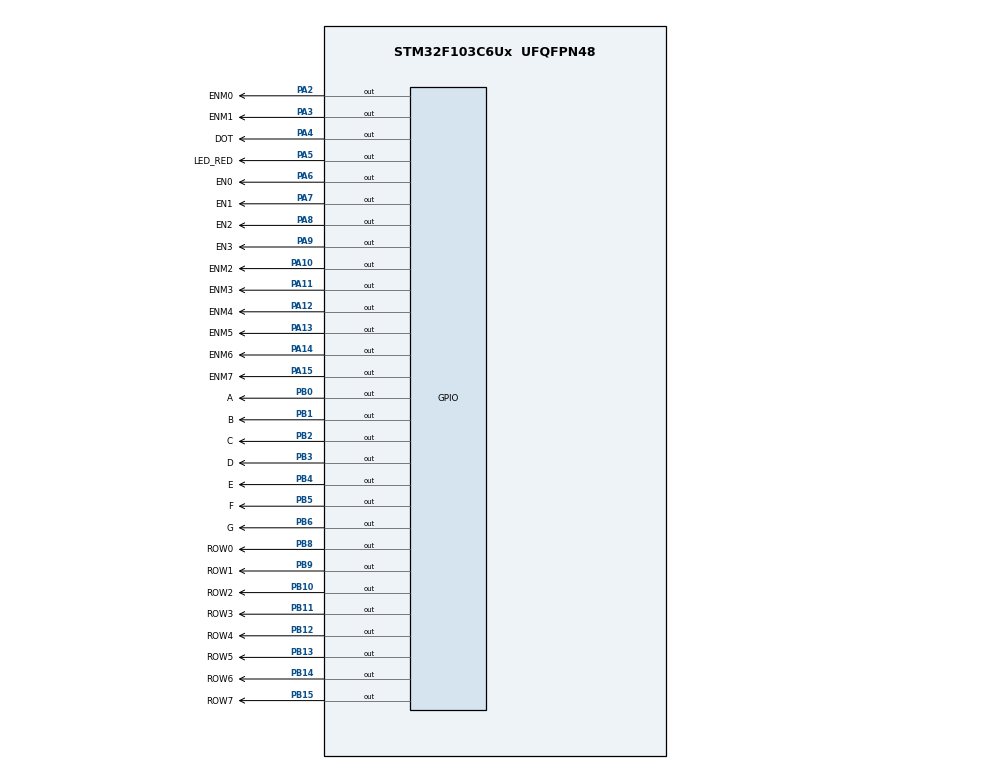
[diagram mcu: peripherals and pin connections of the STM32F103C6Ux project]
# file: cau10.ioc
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Mcu.Family=STM32F1
Mcu.Name=STM32F103C6Ux
Mcu.Package=UFQFPN48
NVIC.PriorityGroup=NVIC_PRIORITYGROUP_4
NVIC.TIM2_IRQn=true\:0\:0\:false\:false\:true\:true\:true\:true
PA10.GPIO_Label=ENM2
PA10.Signal=GPIO_Output
PA11.GPIO_Label=ENM3
PA11.Signal=GPIO_Output
PA12.GPIO_Label=ENM4
PA12.Signal=GPIO_Output
PA13.GPIO_Label=ENM5
PA13.Signal=GPIO_Output
PA14.GPIO_Label=ENM6
PA14.Signal=GPIO_Output
PA15.GPIO_Label=ENM7
PA15.Signal=GPIO_Output
PA2.GPIO_Label=ENM0
PA2.Signal=GPIO_Output
PA3.GPIO_Label=ENM1
PA3.Signal=GPIO_Output
PA4.GPIO_Label=DOT
PA4.Signal=GPIO_Output
PA5.GPIO_Label=LED_RED
PA5.Signal=GPIO_Output
PA6.GPIO_Label=EN0
PA6.Signal=GPIO_Output
PA7.GPIO_Label=EN1
PA7.Signal=GPIO_Output
PA8.GPIO_Label=EN2
PA8.Signal=GPIO_Output
PA9.GPIO_Label=EN3
PA9.Signal=GPIO_Output
PB0.GPIO_Label=A
PB0.Signal=GPIO_Output
PB1.GPIO_Label=B
PB1.Signal=GPIO_Output
PB10.GPIO_Label=ROW2
PB10.Signal=GPIO_Output
PB11.GPIO_Label=ROW3
PB11.Signal=GPIO_Output
PB12.GPIO_Label=ROW4
PB12.Signal=GPIO_Output
PB13.GPIO_Label=ROW5
PB13.Signal=GPIO_Output
PB14.GPIO_Label=ROW6
PB14.Signal=GPIO_Output
PB15.GPIO_Label=ROW7
PB15.Signal=GPIO_Output
PB2.GPIO_Label=C
PB2.Signal=GPIO_Output
PB3.GPIO_Label=D
PB3.Signal=GPIO_Output
PB4.GPIO_Label=E
PB4.Signal=GPIO_Output
PB5.GPIO_Label=F
PB5.Signal=GPIO_Output
PB6.GPIO_Label=G
PB6.Signal=GPIO_Output
PB8.GPIO_Label=ROW0
PB8.Signal=GPIO_Output
PB9.GPIO_Label=ROW1
PB9.Signal=GPIO_Output
ProjectManager.HeapSize=0x200
ProjectManager.StackSize=0x400
ProjectManager.TargetToolchain=STM32CubeIDE
RCC.APB1Freq_Value=8000000
RCC.APB2Freq_Value=8000000
TIM2.Period=10
TIM2.Prescaler=7999
VP_TIM2_VS_ClockSourceINT.Mode=Internal
board=custom

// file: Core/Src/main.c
/* USER CODE BEGIN Header */
/**
  ******************************************************************************
  * @file           : main.c
  * @brief          : Main program body
  ******************************************************************************
  * @attention
  *
  * Copyright (c) 2022 STMicroelectronics.
  * All rights reserved.
  *
  * This software is licensed under terms that can be found in the LICENSE file
  * in the root directory of this software component.
  * If no LICENSE file comes with this software, it is provided AS-IS.
  *
  ******************************************************************************
  */
/* USER CODE END Header */
#include "main.h"

/* USER CODE BEGIN Includes */

#include "cau10_header.h"

/* USER CODE END Includes */

TIM_HandleTypeDef htim2;

/* USER CODE BEGIN PV */

const int MAX_LED = 4;
int index_led = 0;
int led_buffer [4] = {1 , 2 , 3 , 4};

int hour = 15 , minute = 8 , second = 50;

// LED MATRIX

const int MAX_LED_MATRIX = 8;
int index_led_matrix = 0;
uint8_t matrix_buffer [8] = {0x01, 0x02, 0x03, 0x04, 0x05, 0x06, 0x07, 0x08};

/* Variable "updateMatrix" is used to update the position of the character A,
each time the variable value is increased, the character A will shift 1 column to the right. */
int updateMatrix = 0;

/* USER CODE END PV */

void SystemClock_Config(void);
static void MX_GPIO_Init(void);
static void MX_TIM2_Init(void);
/* USER CODE BEGIN PFP */

void display7SEG(int num)
{
	if (num == 0)
	{
		HAL_GPIO_WritePin(A_GPIO_Port,A_Pin,0);
		HAL_GPIO_WritePin(B_GPIO_Port,B_Pin,0);
		HAL_GPIO_WritePin(C_GPIO_Port,C_Pin,0);
		HAL_GPIO_WritePin(D_GPIO_Port,D_Pin,0);
		HAL_GPIO_WritePin(E_GPIO_Port,E_Pin,0);
		HAL_GPIO_WritePin(F_GPIO_Port,F_Pin,0);
		HAL_GPIO_WritePin(G_GPIO_Port,G_Pin,1);
	}
	if (num == 1)
	{
		HAL_GPIO_WritePin(A_GPIO_Port,A_Pin,1);
		HAL_GPIO_WritePin(B_GPIO_Port,B_Pin,0);
		HAL_GPIO_WritePin(C_GPIO_Port,C_Pin,0);
		HAL_GPIO_WritePin(D_GPIO_Port,D_Pin,1);
		HAL_GPIO_WritePin(E_GPIO_Port,E_Pin,1);
		HAL_GPIO_WritePin(F_GPIO_Port,F_Pin,1);
		HAL_GPIO_WritePin(G_GPIO_Port,G_Pin,1);
	}
	if (num == 2)
	{
		HAL_GPIO_WritePin(A_GPIO_Port,A_Pin,0);
		HAL_GPIO_WritePin(B_GPIO_Port,B_Pin,0);
		HAL_GPIO_WritePin(C_GPIO_Port,C_Pin,1);
		HAL_GPIO_WritePin(D_GPIO_Port,D_Pin,0);
		HAL_GPIO_WritePin(E_GPIO_Port,E_Pin,0);
		HAL_GPIO_WritePin(F_GPIO_Port,F_Pin,1);
		HAL_GPIO_WritePin(G_GPIO_Port,G_Pin,0);
	}
	if (num == 3)
	{
		HAL_GPIO_WritePin(A_GPIO_Port,A_Pin,0);
		HAL_GPIO_WritePin(B_GPIO_Port,B_Pin,0);
		HAL_GPIO_WritePin(C_GPIO_Port,C_Pin,0);
		HAL_GPIO_WritePin(D_GPIO_Port,D_Pin,0);
		HAL_GPIO_WritePin(E_GPIO_Port,E_Pin,1);
		HAL_GPIO_WritePin(F_GPIO_Port,F_Pin,1);
		HAL_GPIO_WritePin(G_GPIO_Port,G_Pin,0);
	}
	if (num == 4)
	{
		HAL_GPIO_WritePin(A_GPIO_Port,A_Pin,1);
		HAL_GPIO_WritePin(B_GPIO_Port,B_Pin,0);
		HAL_GPIO_WritePin(C_GPIO_Port,C_Pin,0);
		HAL_GPIO_WritePin(D_GPIO_Port,D_Pin,1);
		HAL_GPIO_WritePin(E_GPIO_Port,E_Pin,1);
		HAL_GPIO_WritePin(F_GPIO_Port,F_Pin,0);
		HAL_GPIO_WritePin(G_GPIO_Port,G_Pin,0);
	}
	if (num == 5)
	{
		HAL_GPIO_WritePin(A_GPIO_Port,A_Pin,0);
		HAL_GPIO_WritePin(B_GPIO_Port,B_Pin,1);
		HAL_GPIO_WritePin(C_GPIO_Port,C_Pin,0);
		HAL_GPIO_WritePin(D_GPIO_Port,D_Pin,0);
		HAL_GPIO_WritePin(E_GPIO_Port,E_Pin,1);
		HAL_GPIO_WritePin(F_GPIO_Port,F_Pin,0);
		HAL_GPIO_WritePin(G_GPIO_Port,G_Pin,0);
	}
	if (num == 6)
	{
		HAL_GPIO_WritePin(A_GPIO_Port,A_Pin,0);
		HAL_GPIO_WritePin(B_GPIO_Port,B_Pin,1);
		HAL_GPIO_WritePin(C_GPIO_Port,C_Pin,0);
		HAL_GPIO_WritePin(D_GPIO_Port,D_Pin,0);
		HAL_GPIO_WritePin(E_GPIO_Port,E_Pin,0);
		HAL_GPIO_WritePin(F_GPIO_Port,F_Pin,0);
		HAL_GPIO_WritePin(G_GPIO_Port,G_Pin,0);
	}
	if (num == 7)
	{
		HAL_GPIO_WritePin(A_GPIO_Port,A_Pin,0);
		HAL_GPIO_WritePin(B_GPIO_Port,B_Pin,0);
		HAL_GPIO_WritePin(C_GPIO_Port,C_Pin,0);
		HAL_GPIO_WritePin(D_GPIO_Port,D_Pin,1);
		HAL_GPIO_WritePin(E_GPIO_Port,E_Pin,1);
		HAL_GPIO_WritePin(F_GPIO_Port,F_Pin,1);
		HAL_GPIO_WritePin(G_GPIO_Port,G_Pin,1);
	}
	if (num == 8)
	{
		HAL_GPIO_WritePin(A_GPIO_Port,A_Pin,0);
		HAL_GPIO_WritePin(B_GPIO_Port,B_Pin,0);
		HAL_GPIO_WritePin(C_GPIO_Port,C_Pin,0);
		HAL_GPIO_WritePin(D_GPIO_Port,D_Pin,0);
		HAL_GPIO_WritePin(E_GPIO_Port,E_Pin,0);
		HAL_GPIO_WritePin(F_GPIO_Port,F_Pin,0);
		HAL_GPIO_WritePin(G_GPIO_Port,G_Pin,0);
	}
	if (num == 9)
	{
		HAL_GPIO_WritePin(A_GPIO_Port,A_Pin,0);
		HAL_GPIO_WritePin(B_GPIO_Port,B_Pin,0);
		HAL_GPIO_WritePin(C_GPIO_Port,C_Pin,0);
		HAL_GPIO_WritePin(D_GPIO_Port,D_Pin,0);
		HAL_GPIO_WritePin(E_GPIO_Port,E_Pin,1);
		HAL_GPIO_WritePin(F_GPIO_Port,F_Pin,0);
		HAL_GPIO_WritePin(G_GPIO_Port,G_Pin,0);
	}
}

void update7SEG (int index)
{
	switch(index)
	{
		case 0:		// Display the first 7 SEG with led_buffer [0]
			display7SEG(led_buffer [0]);
			HAL_GPIO_WritePin(EN0_GPIO_Port, EN0_Pin, 0);	// seg 1 on
			HAL_GPIO_WritePin(EN1_GPIO_Port, EN1_Pin, 1);	// seg 2 off
			HAL_GPIO_WritePin(EN2_GPIO_Port, EN2_Pin, 1);	// seg 3 off
			HAL_GPIO_WritePin(EN3_GPIO_Port, EN3_Pin, 1);	// seg 4 off
			break;
		case 1:		// Display the second 7 SEG with led_buffer [1]
			display7SEG(led_buffer [1]);
			HAL_GPIO_WritePin(EN0_GPIO_Port, EN0_Pin, 1);	// seg 1 off
			HAL_GPIO_WritePin(EN1_GPIO_Port, EN1_Pin, 0);	// seg 2 on
			break;
		case 2:		// Display the third 7 SEG with led_buffer [2]
			display7SEG(led_buffer [2]);
			HAL_GPIO_WritePin(EN1_GPIO_Port, EN1_Pin, 1);	// seg 2 off
			HAL_GPIO_WritePin(EN2_GPIO_Port, EN2_Pin, 0);	// seg 3 on
			break;
		default:	// Display the forth 7 SEG with led_buffer [3]
			display7SEG(led_buffer [3]);
			HAL_GPIO_WritePin(EN2_GPIO_Port, EN2_Pin, 1);	// seg 3 off
			HAL_GPIO_WritePin(EN3_GPIO_Port, EN3_Pin, 0);	// seg 4 on
		break;
	}
}

void updateClockBuffer()
{
	led_buffer [0] = hour/10;
	led_buffer [1] = hour%10;
	led_buffer [2] = minute/10;
	led_buffer [3] = minute%10;
}

void updateLEDMatrix (int index )
{
	switch (index)
	{
		case 0:
			HAL_GPIO_WritePin(ENM0_GPIO_Port, ENM0_Pin, 0);
			HAL_GPIO_WritePin(ENM1_GPIO_Port, ENM1_Pin, 1);
			HAL_GPIO_WritePin(ENM2_GPIO_Port, ENM2_Pin, 1);
			HAL_GPIO_WritePin(ENM3_GPIO_Port, ENM3_Pin, 1);
			HAL_GPIO_WritePin(ENM4_GPIO_Port, ENM4_Pin, 1);
			HAL_GPIO_WritePin(ENM5_GPIO_Port, ENM5_Pin, 1);
			HAL_GPIO_WritePin(ENM6_GPIO_Port, ENM6_Pin, 1);
			HAL_GPIO_WritePin(ENM7_GPIO_Port, ENM7_Pin, 1);

			HAL_GPIO_WritePin(ROW0_GPIO_Port, ROW0_Pin, ((matrix_buffer[0] >> 0)&1));
			HAL_GPIO_WritePin(ROW1_GPIO_Port, ROW1_Pin, ((matrix_buffer[0] >> 1)&1));
			HAL_GPIO_WritePin(ROW2_GPIO_Port, ROW2_Pin, ((matrix_buffer[0] >> 2)&1));
			HAL_GPIO_WritePin(ROW3_GPIO_Port, ROW3_Pin, ((matrix_buffer[0] >> 3)&1));
			HAL_GPIO_WritePin(ROW4_GPIO_Port, ROW4_Pin, ((matrix_buffer[0] >> 4)&1));
			HAL_GPIO_WritePin(ROW5_GPIO_Port, ROW5_Pin, ((matrix_buffer[0] >> 5)&1));
			HAL_GPIO_WritePin(ROW6_GPIO_Port, ROW6_Pin, ((matrix_buffer[0] >> 6)&1));
			HAL_GPIO_WritePin(ROW7_GPIO_Port, ROW7_Pin, ((matrix_buffer[0] >> 7)&1));
			break;
		case 1:
			HAL_GPIO_WritePin(ENM0_GPIO_Port, ENM0_Pin, 1);
			HAL_GPIO_WritePin(ENM1_GPIO_Port, ENM1_Pin, 0);
			HAL_GPIO_WritePin(ENM2_GPIO_Port, ENM2_Pin, 1);
			HAL_GPIO_WritePin(ENM3_GPIO_Port, ENM3_Pin, 1);
			HAL_GPIO_WritePin(ENM4_GPIO_Port, ENM4_Pin, 1);
			HAL_GPIO_WritePin(ENM5_GPIO_Port, ENM5_Pin, 1);
			HAL_GPIO_WritePin(ENM6_GPIO_Port, ENM6_Pin, 1);
			HAL_GPIO_WritePin(ENM7_GPIO_Port, ENM7_Pin, 1);

			HAL_GPIO_WritePin(ROW0_GPIO_Port, ROW0_Pin, ((matrix_buffer[1] >> 0)&1));
			HAL_GPIO_WritePin(ROW1_GPIO_Port, ROW1_Pin, ((matrix_buffer[1] >> 1)&1));
			HAL_GPIO_WritePin(ROW2_GPIO_Port, ROW2_Pin, ((matrix_buffer[1] >> 2)&1));
			HAL_GPIO_WritePin(ROW3_GPIO_Port, ROW3_Pin, ((matrix_buffer[1] >> 3)&1));
			HAL_GPIO_WritePin(ROW4_GPIO_Port, ROW4_Pin, ((matrix_buffer[1] >> 4)&1));
			HAL_GPIO_WritePin(ROW5_GPIO_Port, ROW5_Pin, ((matrix_buffer[1] >> 5)&1));
			HAL_GPIO_WritePin(ROW6_GPIO_Port, ROW6_Pin, ((matrix_buffer[1] >> 6)&1));
			HAL_GPIO_WritePin(ROW7_GPIO_Port, ROW7_Pin, ((matrix_buffer[1] >> 7)&1));
			break;
		case 2:
			HAL_GPIO_WritePin(ENM0_GPIO_Port, ENM0_Pin, 1);
			HAL_GPIO_WritePin(ENM1_GPIO_Port, ENM1_Pin, 1);
			HAL_GPIO_WritePin(ENM2_GPIO_Port, ENM2_Pin, 0);
			HAL_GPIO_WritePin(ENM3_GPIO_Port, ENM3_Pin, 1);
			HAL_GPIO_WritePin(ENM4_GPIO_Port, ENM4_Pin, 1);
			HAL_GPIO_WritePin(ENM5_GPIO_Port, ENM5_Pin, 1);
			HAL_GPIO_WritePin(ENM6_GPIO_Port, ENM6_Pin, 1);
			HAL_GPIO_WritePin(ENM7_GPIO_Port, ENM7_Pin, 1);

			HAL_GPIO_WritePin(ROW0_GPIO_Port, ROW0_Pin, ((matrix_buffer[2] >> 0)&1));
			HAL_GPIO_WritePin(ROW1_GPIO_Port, ROW1_Pin, ((matrix_buffer[2] >> 1)&1));
			HAL_GPIO_WritePin(ROW2_GPIO_Port, ROW2_Pin, ((matrix_buffer[2] >> 2)&1));
			HAL_GPIO_WritePin(ROW3_GPIO_Port, ROW3_Pin, ((matrix_buffer[2] >> 3)&1));
			HAL_GPIO_WritePin(ROW4_GPIO_Port, ROW4_Pin, ((matrix_buffer[2] >> 4)&1));
			HAL_GPIO_WritePin(ROW5_GPIO_Port, ROW5_Pin, ((matrix_buffer[2] >> 5)&1));
			HAL_GPIO_WritePin(ROW6_GPIO_Port, ROW6_Pin, ((matrix_buffer[2] >> 6)&1));
			HAL_GPIO_WritePin(ROW7_GPIO_Port, ROW7_Pin, ((matrix_buffer[2] >> 7)&1));
			break;
		case 3:
			HAL_GPIO_WritePin(ENM0_GPIO_Port, ENM0_Pin, 1);
			HAL_GPIO_WritePin(ENM1_GPIO_Port, ENM1_Pin, 1);
			HAL_GPIO_WritePin(ENM2_GPIO_Port, ENM2_Pin, 1);
			HAL_GPIO_WritePin(ENM3_GPIO_Port, ENM3_Pin, 0);
			HAL_GPIO_WritePin(ENM4_GPIO_Port, ENM4_Pin, 1);
			HAL_GPIO_WritePin(ENM5_GPIO_Port, ENM5_Pin, 1);
			HAL_GPIO_WritePin(ENM6_GPIO_Port, ENM6_Pin, 1);
			HAL_GPIO_WritePin(ENM7_GPIO_Port, ENM7_Pin, 1);

			HAL_GPIO_WritePin(ROW0_GPIO_Port, ROW0_Pin, ((matrix_buffer[3] >> 0)&1));
			HAL_GPIO_WritePin(ROW1_GPIO_Port, ROW1_Pin, ((matrix_buffer[3] >> 1)&1));
			HAL_GPIO_WritePin(ROW2_GPIO_Port, ROW2_Pin, ((matrix_buffer[3] >> 2)&1));
			HAL_GPIO_WritePin(ROW3_GPIO_Port, ROW3_Pin, ((matrix_buffer[3] >> 3)&1));
			HAL_GPIO_WritePin(ROW4_GPIO_Port, ROW4_Pin, ((matrix_buffer[3] >> 4)&1));
			HAL_GPIO_WritePin(ROW5_GPIO_Port, ROW5_Pin, ((matrix_buffer[3] >> 5)&1));
			HAL_GPIO_WritePin(ROW6_GPIO_Port, ROW6_Pin, ((matrix_buffer[3] >> 6)&1));
			HAL_GPIO_WritePin(ROW7_GPIO_Port, ROW7_Pin, ((matrix_buffer[3] >> 7)&1));
			break;
		case 4:
			HAL_GPIO_WritePin(ENM0_GPIO_Port, ENM0_Pin, 1);
			HAL_GPIO_WritePin(ENM1_GPIO_Port, ENM1_Pin, 1);
			HAL_GPIO_WritePin(ENM2_GPIO_Port, ENM2_Pin, 1);
			HAL_GPIO_WritePin(ENM3_GPIO_Port, ENM3_Pin, 1);
			HAL_GPIO_WritePin(ENM4_GPIO_Port, ENM4_Pin, 0);
			HAL_GPIO_WritePin(ENM5_GPIO_Port, ENM5_Pin, 1);
			HAL_GPIO_WritePin(ENM6_GPIO_Port, ENM6_Pin, 1);
			HAL_GPIO_WritePin(ENM7_GPIO_Port, ENM7_Pin, 1);

			HAL_GPIO_WritePin(ROW0_GPIO_Port, ROW0_Pin, ((matrix_buffer[4] >> 0)&1));
			HAL_GPIO_WritePin(ROW1_GPIO_Port, ROW1_Pin, ((matrix_buffer[4] >> 1)&1));
			HAL_GPIO_WritePin(ROW2_GPIO_Port, ROW2_Pin, ((matrix_buffer[4] >> 2)&1));
			HAL_GPIO_WritePin(ROW3_GPIO_Port, ROW3_Pin, ((matrix_buffer[4] >> 3)&1));
			HAL_GPIO_WritePin(ROW4_GPIO_Port, ROW4_Pin, ((matrix_buffer[4] >> 4)&1));
			HAL_GPIO_WritePin(ROW5_GPIO_Port, ROW5_Pin, ((matrix_buffer[4] >> 5)&1));
			HAL_GPIO_WritePin(ROW6_GPIO_Port, ROW6_Pin, ((matrix_buffer[4] >> 6)&1));
			HAL_GPIO_WritePin(ROW7_GPIO_Port, ROW7_Pin, ((matrix_buffer[4] >> 7)&1));
			break;
		case 5:
			HAL_GPIO_WritePin(ENM0_GPIO_Port, ENM0_Pin, 1);
			HAL_GPIO_WritePin(ENM1_GPIO_Port, ENM1_Pin, 1);
			HAL_GPIO_WritePin(ENM2_GPIO_Port, ENM2_Pin, 1);
			HAL_GPIO_WritePin(ENM3_GPIO_Port, ENM3_Pin, 1);
			HAL_GPIO_WritePin(ENM4_GPIO_Port, ENM4_Pin, 1);
			HAL_GPIO_WritePin(ENM5_GPIO_Port, ENM5_Pin, 0);
			HAL_GPIO_WritePin(ENM6_GPIO_Port, ENM6_Pin, 1);
			HAL_GPIO_WritePin(ENM7_GPIO_Port, ENM7_Pin, 1);

			HAL_GPIO_WritePin(ROW0_GPIO_Port, ROW0_Pin, ((matrix_buffer[5] >> 0)&1));
			HAL_GPIO_WritePin(ROW1_GPIO_Port, ROW1_Pin, ((matrix_buffer[5] >> 1)&1));
			HAL_GPIO_WritePin(ROW2_GPIO_Port, ROW2_Pin, ((matrix_buffer[5] >> 2)&1));
			HAL_GPIO_WritePin(ROW3_GPIO_Port, ROW3_Pin, ((matrix_buffer[5] >> 3)&1));
			HAL_GPIO_WritePin(ROW4_GPIO_Port, ROW4_Pin, ((matrix_buffer[5] >> 4)&1));
			HAL_GPIO_WritePin(ROW5_GPIO_Port, ROW5_Pin, ((matrix_buffer[5] >> 5)&1));
			HAL_GPIO_WritePin(ROW6_GPIO_Port, ROW6_Pin, ((matrix_buffer[5] >> 6)&1));
			HAL_GPIO_WritePin(ROW7_GPIO_Port, ROW7_Pin, ((matrix_buffer[5] >> 7)&1));
			break;
		case 6:
			HAL_GPIO_WritePin(ENM0_GPIO_Port, ENM0_Pin, 1);
			HAL_GPIO_WritePin(ENM1_GPIO_Port, ENM1_Pin, 1);
			HAL_GPIO_WritePin(ENM2_GPIO_Port, ENM2_Pin, 1);
			HAL_GPIO_WritePin(ENM3_GPIO_Port, ENM3_Pin, 1);
			HAL_GPIO_WritePin(ENM4_GPIO_Port, ENM4_Pin, 1);
			HAL_GPIO_WritePin(ENM5_GPIO_Port, ENM5_Pin, 1);
			HAL_GPIO_WritePin(ENM6_GPIO_Port, ENM6_Pin, 0);
			HAL_GPIO_WritePin(ENM7_GPIO_Port, ENM7_Pin, 1);

			HAL_GPIO_WritePin(ROW0_GPIO_Port, ROW0_Pin, ((matrix_buffer[6] >> 0)&1));
			HAL_GPIO_WritePin(ROW1_GPIO_Port, ROW1_Pin, ((matrix_buffer[6] >> 1)&1));
			HAL_GPIO_WritePin(ROW2_GPIO_Port, ROW2_Pin, ((matrix_buffer[6] >> 2)&1));
			HAL_GPIO_WritePin(ROW3_GPIO_Port, ROW3_Pin, ((matrix_buffer[6] >> 3)&1));
			HAL_GPIO_WritePin(ROW4_GPIO_Port, ROW4_Pin, ((matrix_buffer[6] >> 4)&1));
			HAL_GPIO_WritePin(ROW5_GPIO_Port, ROW5_Pin, ((matrix_buffer[6] >> 5)&1));
			HAL_GPIO_WritePin(ROW6_GPIO_Port, ROW6_Pin, ((matrix_buffer[6] >> 6)&1));
			HAL_GPIO_WritePin(ROW7_GPIO_Port, ROW7_Pin, ((matrix_buffer[6] >> 7)&1));
			break;
		case 7:
			HAL_GPIO_WritePin(ENM0_GPIO_Port, ENM0_Pin, 1);
			HAL_GPIO_WritePin(ENM1_GPIO_Port, ENM1_Pin, 1);
			HAL_GPIO_WritePin(ENM2_GPIO_Port, ENM2_Pin, 1);
			HAL_GPIO_WritePin(ENM3_GPIO_Port, ENM3_Pin, 1);
			HAL_GPIO_WritePin(ENM4_GPIO_Port, ENM4_Pin, 1);
			HAL_GPIO_WritePin(ENM5_GPIO_Port, ENM5_Pin, 1);
			HAL_GPIO_WritePin(ENM6_GPIO_Port, ENM6_Pin, 1);
			HAL_GPIO_WritePin(ENM7_GPIO_Port, ENM7_Pin, 0);

			HAL_GPIO_WritePin(ROW0_GPIO_Port, ROW0_Pin, ((matrix_buffer[7] >> 0)&1));
			HAL_GPIO_WritePin(ROW1_GPIO_Port, ROW1_Pin, ((matrix_buffer[7] >> 1)&1));
			HAL_GPIO_WritePin(ROW2_GPIO_Port, ROW2_Pin, ((matrix_buffer[7] >> 2)&1));
			HAL_GPIO_WritePin(ROW3_GPIO_Port, ROW3_Pin, ((matrix_buffer[7] >> 3)&1));
			HAL_GPIO_WritePin(ROW4_GPIO_Port, ROW4_Pin, ((matrix_buffer[7] >> 4)&1));
			HAL_GPIO_WritePin(ROW5_GPIO_Port, ROW5_Pin, ((matrix_buffer[7] >> 5)&1));
			HAL_GPIO_WritePin(ROW6_GPIO_Port, ROW6_Pin, ((matrix_buffer[7] >> 6)&1));
			HAL_GPIO_WritePin(ROW7_GPIO_Port, ROW7_Pin, ((matrix_buffer[7] >> 7)&1));
			break;
		default:
			break;
	}
}

void clearAllMatrix()
{
	matrix_buffer [0] = 0xFF;
	matrix_buffer [1] = 0xFF;
	matrix_buffer [2] = 0xFF;
	matrix_buffer [3] = 0xFF;
	matrix_buffer [4] = 0xFF;
	matrix_buffer [5] = 0xFF;
	matrix_buffer [6] = 0xFF;
	matrix_buffer [7] = 0xFF;
}

void updateLEDMatrixBuffer(char index, int update)
{
	switch(index)
	{
	case 'A':
		matrix_buffer [(update + 0)%8] = 0xFF;
		matrix_buffer [(update + 1)%8] = 0x01;
		matrix_buffer [(update + 2)%8] = 0x00;
		matrix_buffer [(update + 3)%8] = 0xCC;
		matrix_buffer [(update + 4)%8] = 0xCC;
		matrix_buffer [(update + 5)%8] = 0x00;
		matrix_buffer [(update + 6)%8] = 0x01;
		matrix_buffer [(update + 7)%8] = 0xFF;
		break;

	default:
		break;
	}
}

/* USER CODE END PFP */

int main(void)
{

  /* MCU Configuration--------------------------------------------------------*/

  /* Reset of all peripherals, Initializes the Flash interface and the Systick. */
  HAL_Init();

  /* Configure the system clock */
  SystemClock_Config();

  /* Initialize all configured peripherals */
  MX_GPIO_Init();
  MX_TIM2_Init();
  /* USER CODE BEGIN 2 */

  HAL_TIM_Base_Start_IT(&htim2);

  /* USER CODE END 2 */

  /* Infinite loop */
  /* USER CODE BEGIN WHILE */

  timer0_flag = 1;
  timer1_flag = 1;
  timer2_flag = 1;

  while (1)
  {
	  if(timer2_flag == 1)
	  {
		  setTimer2(10);
		  updateLEDMatrixBuffer('A', updateMatrix);
		  updateLEDMatrix(index_led_matrix ++);
	  }

	  if(timer1_flag == 1)
	  {
		  setTimer1(1000);
		  second++;

		  if(second >= 60)
		  {
			  second = 0;
			  minute++;
		  }
		  if(minute >= 60)
		  {
			  minute = 0;
			  hour++;
		  }
		  if(hour >= 24)
			  hour = 0;
	  }

	  if(timer0_flag == 1)
	  {
		  setTimer0(500);
		  HAL_GPIO_TogglePin(LED_RED_GPIO_Port, LED_RED_Pin);
		  HAL_GPIO_TogglePin(DOT_GPIO_Port, DOT_Pin);

		  updateClockBuffer ();
		  update7SEG(index_led++);
	  }

	  if(index_led == 4)
		  index_led = 0;

	  if(index_led_matrix == 8)
	  {
		  index_led_matrix = 0;

		  updateMatrix++;
		  clearAllMatrix();

		  if(updateMatrix == 8)
		  {
			  updateMatrix = 0;
		  }
	  }

    /* USER CODE END WHILE */

  }
}

void SystemClock_Config(void)
{
  RCC_OscInitTypeDef RCC_OscInitStruct = {0};
  RCC_ClkInitTypeDef RCC_ClkInitStruct = {0};

  /** Initializes the RCC Oscillators according to the specified parameters
  * in the RCC_OscInitTypeDef structure.
  */
  RCC_OscInitStruct.OscillatorType = RCC_OSCILLATORTYPE_HSI;
  RCC_OscInitStruct.HSIState = RCC_HSI_ON;
  RCC_OscInitStruct.HSICalibrationValue = RCC_HSICALIBRATION_DEFAULT;
  RCC_OscInitStruct.PLL.PLLState = RCC_PLL_NONE;
  if (HAL_RCC_OscConfig(&RCC_OscInitStruct) != HAL_OK)
  {
    Error_Handler();
  }

  /** Initializes the CPU, AHB and APB buses clocks
  */
  RCC_ClkInitStruct.ClockType = RCC_CLOCKTYPE_HCLK|RCC_CLOCKTYPE_SYSCLK
                              |RCC_CLOCKTYPE_PCLK1|RCC_CLOCKTYPE_PCLK2;
  RCC_ClkInitStruct.SYSCLKSource = RCC_SYSCLKSOURCE_HSI;
  RCC_ClkInitStruct.AHBCLKDivider = RCC_SYSCLK_DIV1;
  RCC_ClkInitStruct.APB1CLKDivider = RCC_HCLK_DIV1;
  RCC_ClkInitStruct.APB2CLKDivider = RCC_HCLK_DIV1;

  if (HAL_RCC_ClockConfig(&RCC_ClkInitStruct, FLASH_LATENCY_0) != HAL_OK)
  {
    Error_Handler();
  }
}

static void MX_TIM2_Init(void)
{

  TIM_ClockConfigTypeDef sClockSourceConfig = {0};
  TIM_MasterConfigTypeDef sMasterConfig = {0};

  htim2.Instance = TIM2;
  htim2.Init.Prescaler = 7999;
  htim2.Init.CounterMode = TIM_COUNTERMODE_UP;
  htim2.Init.Period = 10;
  htim2.Init.ClockDivision = TIM_CLOCKDIVISION_DIV1;
  htim2.Init.AutoReloadPreload = TIM_AUTORELOAD_PRELOAD_DISABLE;
  if (HAL_TIM_Base_Init(&htim2) != HAL_OK)
  {
    Error_Handler();
  }
  sClockSourceConfig.ClockSource = TIM_CLOCKSOURCE_INTERNAL;
  if (HAL_TIM_ConfigClockSource(&htim2, &sClockSourceConfig) != HAL_OK)
  {
    Error_Handler();
  }
  sMasterConfig.MasterOutputTrigger = TIM_TRGO_RESET;
  sMasterConfig.MasterSlaveMode = TIM_MASTERSLAVEMODE_DISABLE;
  if (HAL_TIMEx_MasterConfigSynchronization(&htim2, &sMasterConfig) != HAL_OK)
  {
    Error_Handler();
  }

}

static void MX_GPIO_Init(void)
{
  GPIO_InitTypeDef GPIO_InitStruct = {0};

  /* GPIO Ports Clock Enable */
  __HAL_RCC_GPIOA_CLK_ENABLE();
  __HAL_RCC_GPIOB_CLK_ENABLE();

  /*Configure GPIO pin Output Level */
  HAL_GPIO_WritePin(GPIOA, ENM0_Pin|ENM1_Pin|DOT_Pin|LED_RED_Pin
                          |EN0_Pin|EN1_Pin|EN2_Pin|EN3_Pin
                          |ENM2_Pin|ENM3_Pin|ENM4_Pin|ENM5_Pin
                          |ENM6_Pin|ENM7_Pin, GPIO_PIN_RESET);

  /*Configure GPIO pin Output Level */
  HAL_GPIO_WritePin(GPIOB, A_Pin|B_Pin|C_Pin|ROW2_Pin
                          |ROW3_Pin|ROW4_Pin|ROW5_Pin|ROW6_Pin
                          |ROW7_Pin|D_Pin|E_Pin|F_Pin
                          |G_Pin|ROW0_Pin|ROW1_Pin, GPIO_PIN_RESET);

  /*Configure GPIO pins : ENM0_Pin ENM1_Pin DOT_Pin LED_RED_Pin
                           EN0_Pin EN1_Pin EN2_Pin EN3_Pin
                           ENM2_Pin ENM3_Pin ENM4_Pin ENM5_Pin
                           ENM6_Pin ENM7_Pin */
  GPIO_InitStruct.Pin = ENM0_Pin|ENM1_Pin|DOT_Pin|LED_RED_Pin
                          |EN0_Pin|EN1_Pin|EN2_Pin|EN3_Pin
                          |ENM2_Pin|ENM3_Pin|ENM4_Pin|ENM5_Pin
                          |ENM6_Pin|ENM7_Pin;
  GPIO_InitStruct.Mode = GPIO_MODE_OUTPUT_PP;
  GPIO_InitStruct.Pull = GPIO_NOPULL;
  GPIO_InitStruct.Speed = GPIO_SPEED_FREQ_LOW;
  HAL_GPIO_Init(GPIOA, &GPIO_InitStruct);

  /*Configure GPIO pins : A_Pin B_Pin C_Pin ROW2_Pin
                           ROW3_Pin ROW4_Pin ROW5_Pin ROW6_Pin
                           ROW7_Pin D_Pin E_Pin F_Pin
                           G_Pin ROW0_Pin ROW1_Pin */
  GPIO_InitStruct.Pin = A_Pin|B_Pin|C_Pin|ROW2_Pin
                          |ROW3_Pin|ROW4_Pin|ROW5_Pin|ROW6_Pin
                          |ROW7_Pin|D_Pin|E_Pin|F_Pin
                          |G_Pin|ROW0_Pin|ROW1_Pin;
  GPIO_InitStruct.Mode = GPIO_MODE_OUTPUT_PP;
  GPIO_InitStruct.Pull = GPIO_NOPULL;
  GPIO_InitStruct.Speed = GPIO_SPEED_FREQ_LOW;
  HAL_GPIO_Init(GPIOB, &GPIO_InitStruct);

}

/* USER CODE BEGIN 4 */

void HAL_TIM_PeriodElapsedCallback (TIM_HandleTypeDef *htim )
{
	timer_run ();
}

/* USER CODE END 4 */

void Error_Handler(void)
{
  __disable_irq();
  while (1)
  {
  }
}
